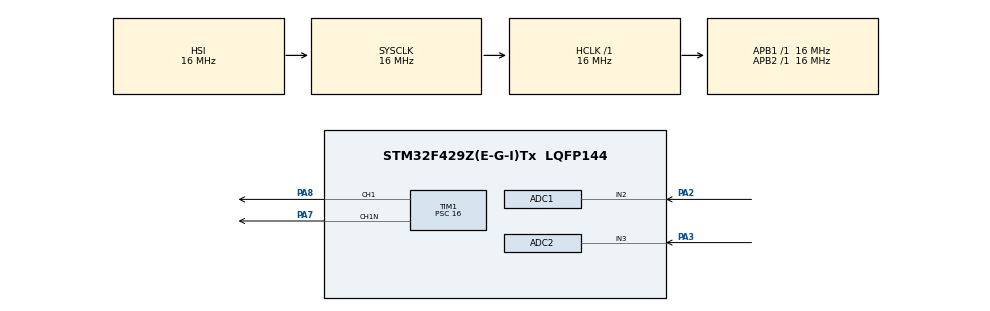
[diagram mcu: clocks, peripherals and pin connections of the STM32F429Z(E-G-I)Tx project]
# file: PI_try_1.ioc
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ADC1.Channel-0\#ChannelRegularConversion=ADC_CHANNEL_2
ADC1.NbrOfConversionFlag=1
ADC1.Rank-0\#ChannelRegularConversion=1
ADC1.Resolution=ADC_RESOLUTION_8B
ADC1.SamplingTime-0\#ChannelRegularConversion=ADC_SAMPLETIME_3CYCLES
ADC1.master=1
ADC2.Channel-0\#ChannelRegularConversion=ADC_CHANNEL_3
ADC2.ClockPrescaler=ADC_CLOCK_SYNC_PCLK_DIV2
ADC2.ContinuousConvMode=DISABLE
ADC2.DMAContinuousRequests=DISABLE
ADC2.DataAlign=ADC_DATAALIGN_RIGHT
ADC2.DiscontinuousConvMode=DISABLE
ADC2.EOCSelection=ADC_EOC_SINGLE_CONV
ADC2.EnableAnalogWatchDog=false
ADC2.ExternalTrigConvEdge=ADC_EXTERNALTRIGCONVEDGE_NONE
ADC2.InjNumberOfConversion=0
ADC2.NbrOfConversion=1
ADC2.NbrOfConversionFlag=1
ADC2.Rank-0\#ChannelRegularConversion=1
ADC2.Resolution=ADC_RESOLUTION_8B
ADC2.SamplingTime-0\#ChannelRegularConversion=ADC_SAMPLETIME_3CYCLES
ADC2.ScanConvMode=DISABLE
Mcu.Family=STM32F4
Mcu.Name=STM32F429Z(E-G-I)Tx
Mcu.Package=LQFP144
NVIC.PriorityGroup=NVIC_PRIORITYGROUP_4
NVIC.TIM2_IRQn=true\:0\:0\:false\:false\:true
PA13.Mode=Trace_Asynchronous_SW
PA13.Signal=SYS_JTMS-SWDIO
PA14.Mode=Trace_Asynchronous_SW
PA14.Signal=SYS_JTCK-SWCLK
PA2.Signal=ADCx_IN2
PA3.Signal=ADCx_IN3
PA7.Mode=PWM Generation1 CH1 CH1N
PA7.Signal=TIM1_CH1N
PA8.GPIO_PuPd=GPIO_NOPULL
PA8.Signal=S_TIM1_CH1
PB3.Mode=Trace_Asynchronous_SW
PB3.Signal=SYS_JTDO-SWO
ProjectManager.HeapSize=0x200
ProjectManager.StackSize=0x400
ProjectManager.TargetToolchain=MDK-ARM V5
RCC.AHBFreq_Value=16000000
RCC.APB1Freq_Value=16000000
RCC.APB2Freq_Value=16000000
RCC.CortexFreq_Value=16000000
RCC.HSE_VALUE=25000000
RCC.HSI_VALUE=16000000
RCC.LSE_VALUE=32768
RCC.SYSCLKFreq_VALUE=16000000
RCC.VCOOutputFreq_Value=192000000
SH.ADCx_IN2.0=ADC1_IN2,IN2
SH.ADCx_IN3.0=ADC2_IN3,IN3
SH.S_TIM1_CH1.0=TIM1_CH1,PWM Generation1 CH1 CH1N
TIM1.Period=100
TIM1.Prescaler=16
TIM1.Pulse-PWM\ Generation1\ CH1\ CH1N=50
TIM2.Period=100000
TIM2.Prescaler=16
VP_TIM1_VS_ClockSourceINT.Mode=Internal
VP_TIM2_VS_ClockSourceINT.Mode=Internal
board=PI_try_1

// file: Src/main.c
/**
  ******************************************************************************
  * File Name          : main.c
  * Description        : Main program body
  ******************************************************************************
  *
  * COPYRIGHT(c) 2017 STMicroelectronics
  *
  * Redistribution and use in source and binary forms, with or without modification,
  * are permitted provided that the following conditions are met:
  *   1. Redistributions of source code must retain the above copyright notice,
  *      this list of conditions and the following disclaimer.
  *   2. Redistributions in binary form must reproduce the above copyright notice,
  *      this list of conditions and the following disclaimer in the documentation
  *      and/or other materials provided with the distribution.
  *   3. Neither the name of STMicroelectronics nor the names of its contributors
  *      may be used to endorse or promote products derived from this software
  *      without specific prior written permission.
  *
  * THIS SOFTWARE IS PROVIDED BY THE COPYRIGHT HOLDERS AND CONTRIBUTORS "AS IS"
  * AND ANY EXPRESS OR IMPLIED WARRANTIES, INCLUDING, BUT NOT LIMITED TO, THE
  * IMPLIED WARRANTIES OF MERCHANTABILITY AND FITNESS FOR A PARTICULAR PURPOSE ARE
  * DISCLAIMED. IN NO EVENT SHALL THE COPYRIGHT HOLDER OR CONTRIBUTORS BE LIABLE
  * FOR ANY DIRECT, INDIRECT, INCIDENTAL, SPECIAL, EXEMPLARY, OR CONSEQUENTIAL
  * DAMAGES (INCLUDING, BUT NOT LIMITED TO, PROCUREMENT OF SUBSTITUTE GOODS OR
  * SERVICES; LOSS OF USE, DATA, OR PROFITS; OR BUSINESS INTERRUPTION) HOWEVER
  * CAUSED AND ON ANY THEORY OF LIABILITY, WHETHER IN CONTRACT, STRICT LIABILITY,
  * OR TORT (INCLUDING NEGLIGENCE OR OTHERWISE) ARISING IN ANY WAY OUT OF THE USE
  * OF THIS SOFTWARE, EVEN IF ADVISED OF THE POSSIBILITY OF SUCH DAMAGE.
  *
  ******************************************************************************
  */
#include "stm32f4xx_hal.h"
#include "math.h"

ADC_HandleTypeDef hadc1;
ADC_HandleTypeDef hadc2;

TIM_HandleTypeDef htim1;
TIM_HandleTypeDef htim2;

/* USER CODE BEGIN PV */
/* Private variables ---------------------------------------------------------*/
	 double integral = 0;
	 double prePWM = 50;

/* USER CODE END PV */

void SystemClock_Config(void);
void Error_Handler(void);
static void MX_GPIO_Init(void);
static void MX_ADC1_Init(void);
static void MX_ADC2_Init(void);
static void MX_TIM1_Init(void);
static void MX_TIM2_Init(void);

void HAL_TIM_MspPostInit(TIM_HandleTypeDef *htim);

/* USER CODE BEGIN PFP */
/* Private function prototypes -----------------------------------------------*/

/* USER CODE END PFP */

/* USER CODE BEGIN 0 */

void trace(char * string, uint8_t len){
	uint8_t i = 0;
	for(i=0; i<len;len++){
	ITM_SendChar(*string++);
	}
}

/* USER CODE END 0 */

int main(void)
{

  /* MCU Configuration----------------------------------------------------------*/

  /* Reset of all peripherals, Initializes the Flash interface and the Systick. */
  HAL_Init();

  /* Configure the system clock */
  SystemClock_Config();

  /* Initialize all configured peripherals */
  MX_GPIO_Init();
  MX_ADC1_Init();
  MX_ADC2_Init();
  MX_TIM1_Init();
  MX_TIM2_Init();

  /* USER CODE BEGIN 2 */
	HAL_TIM_PWM_Start(&htim1,TIM_CHANNEL_1);
 HAL_TIM_Base_Start_IT(&htim2);

  /* USER CODE END 2 */

  /* Infinite loop */
  while (1)
  {

  }

}

/** System Clock Configuration
*/
void SystemClock_Config(void)
{

  RCC_OscInitTypeDef RCC_OscInitStruct;
  RCC_ClkInitTypeDef RCC_ClkInitStruct;

  __HAL_RCC_PWR_CLK_ENABLE();

  __HAL_PWR_VOLTAGESCALING_CONFIG(PWR_REGULATOR_VOLTAGE_SCALE3);

  RCC_OscInitStruct.OscillatorType = RCC_OSCILLATORTYPE_HSI;
  RCC_OscInitStruct.HSIState = RCC_HSI_ON;
  RCC_OscInitStruct.HSICalibrationValue = 16;
  RCC_OscInitStruct.PLL.PLLState = RCC_PLL_NONE;
  if (HAL_RCC_OscConfig(&RCC_OscInitStruct) != HAL_OK)
  {
    Error_Handler();
  }

  RCC_ClkInitStruct.ClockType = RCC_CLOCKTYPE_HCLK|RCC_CLOCKTYPE_SYSCLK
                              |RCC_CLOCKTYPE_PCLK1|RCC_CLOCKTYPE_PCLK2;
  RCC_ClkInitStruct.SYSCLKSource = RCC_SYSCLKSOURCE_HSI;
  RCC_ClkInitStruct.AHBCLKDivider = RCC_SYSCLK_DIV1;
  RCC_ClkInitStruct.APB1CLKDivider = RCC_HCLK_DIV1;
  RCC_ClkInitStruct.APB2CLKDivider = RCC_HCLK_DIV1;
  if (HAL_RCC_ClockConfig(&RCC_ClkInitStruct, FLASH_LATENCY_0) != HAL_OK)
  {
    Error_Handler();
  }

  HAL_SYSTICK_Config(HAL_RCC_GetHCLKFreq()/1000);

  HAL_SYSTICK_CLKSourceConfig(SYSTICK_CLKSOURCE_HCLK);

  /* SysTick_IRQn interrupt configuration */
  HAL_NVIC_SetPriority(SysTick_IRQn, 0, 0);
}

/* ADC1 init function */
static void MX_ADC1_Init(void)
{

  ADC_ChannelConfTypeDef sConfig;

    /**Configure the global features of the ADC (Clock, Resolution, Data Alignment and number of conversion)
    */
  hadc1.Instance = ADC1;
  hadc1.Init.ClockPrescaler = ADC_CLOCK_SYNC_PCLK_DIV2;
  hadc1.Init.Resolution = ADC_RESOLUTION_8B;
  hadc1.Init.ScanConvMode = DISABLE;
  hadc1.Init.ContinuousConvMode = ENABLE;
  hadc1.Init.DiscontinuousConvMode = DISABLE;
  hadc1.Init.ExternalTrigConvEdge = ADC_EXTERNALTRIGCONVEDGE_NONE;
  hadc1.Init.DataAlign = ADC_DATAALIGN_RIGHT;
  hadc1.Init.NbrOfConversion = 1;
  hadc1.Init.DMAContinuousRequests = DISABLE;
  hadc1.Init.EOCSelection = ADC_EOC_SINGLE_CONV;
  if (HAL_ADC_Init(&hadc1) != HAL_OK)
  {
    Error_Handler();
  }

    /**Configure for the selected ADC regular channel its corresponding rank in the sequencer and its sample time.
    */
  sConfig.Channel = ADC_CHANNEL_2;
  sConfig.Rank = 1;
  sConfig.SamplingTime = ADC_SAMPLETIME_3CYCLES;
  if (HAL_ADC_ConfigChannel(&hadc1, &sConfig) != HAL_OK)
  {
    Error_Handler();
  }

}

/* ADC2 init function */
static void MX_ADC2_Init(void)
{

  ADC_ChannelConfTypeDef sConfig;

    /**Configure the global features of the ADC (Clock, Resolution, Data Alignment and number of conversion)
    */
  hadc2.Instance = ADC2;
  hadc2.Init.ClockPrescaler = ADC_CLOCK_SYNC_PCLK_DIV2;
  hadc2.Init.Resolution = ADC_RESOLUTION_8B;
  hadc2.Init.ScanConvMode = DISABLE;
  hadc2.Init.ContinuousConvMode = ENABLE;
  hadc2.Init.DiscontinuousConvMode = DISABLE;
  hadc2.Init.ExternalTrigConvEdge = ADC_EXTERNALTRIGCONVEDGE_NONE;
  hadc2.Init.DataAlign = ADC_DATAALIGN_RIGHT;
  hadc2.Init.NbrOfConversion = 1;
  hadc2.Init.DMAContinuousRequests = DISABLE;
  hadc2.Init.EOCSelection = ADC_EOC_SINGLE_CONV;
  if (HAL_ADC_Init(&hadc2) != HAL_OK)
  {
    Error_Handler();
  }

    /**Configure for the selected ADC regular channel its corresponding rank in the sequencer and its sample time.
    */
  sConfig.Channel = ADC_CHANNEL_3;
  sConfig.Rank = 1;
  sConfig.SamplingTime = ADC_SAMPLETIME_3CYCLES;
  if (HAL_ADC_ConfigChannel(&hadc2, &sConfig) != HAL_OK)
  {
    Error_Handler();
  }

}

/* TIM1 init function */
static void MX_TIM1_Init(void)
{

  TIM_ClockConfigTypeDef sClockSourceConfig;
  TIM_MasterConfigTypeDef sMasterConfig;
  TIM_BreakDeadTimeConfigTypeDef sBreakDeadTimeConfig;
  TIM_OC_InitTypeDef sConfigOC;

  htim1.Instance = TIM1;
  htim1.Init.Prescaler = 16;
  htim1.Init.CounterMode = TIM_COUNTERMODE_UP;
  htim1.Init.Period = 100;
  htim1.Init.ClockDivision = TIM_CLOCKDIVISION_DIV1;
  htim1.Init.RepetitionCounter = 0;
  if (HAL_TIM_Base_Init(&htim1) != HAL_OK)
  {
    Error_Handler();
  }

  sClockSourceConfig.ClockSource = TIM_CLOCKSOURCE_INTERNAL;
  if (HAL_TIM_ConfigClockSource(&htim1, &sClockSourceConfig) != HAL_OK)
  {
    Error_Handler();
  }

  if (HAL_TIM_PWM_Init(&htim1) != HAL_OK)
  {
    Error_Handler();
  }

  sMasterConfig.MasterOutputTrigger = TIM_TRGO_RESET;
  sMasterConfig.MasterSlaveMode = TIM_MASTERSLAVEMODE_DISABLE;
  if (HAL_TIMEx_MasterConfigSynchronization(&htim1, &sMasterConfig) != HAL_OK)
  {
    Error_Handler();
  }

  sBreakDeadTimeConfig.OffStateRunMode = TIM_OSSR_DISABLE;
  sBreakDeadTimeConfig.OffStateIDLEMode = TIM_OSSI_DISABLE;
  sBreakDeadTimeConfig.LockLevel = TIM_LOCKLEVEL_OFF;
  sBreakDeadTimeConfig.DeadTime = 0;
  sBreakDeadTimeConfig.BreakState = TIM_BREAK_DISABLE;
  sBreakDeadTimeConfig.BreakPolarity = TIM_BREAKPOLARITY_HIGH;
  sBreakDeadTimeConfig.AutomaticOutput = TIM_AUTOMATICOUTPUT_DISABLE;
  if (HAL_TIMEx_ConfigBreakDeadTime(&htim1, &sBreakDeadTimeConfig) != HAL_OK)
  {
    Error_Handler();
  }

  sConfigOC.OCMode = TIM_OCMODE_PWM1;
  sConfigOC.Pulse = 50;
  sConfigOC.OCPolarity = TIM_OCPOLARITY_HIGH;
  sConfigOC.OCNPolarity = TIM_OCNPOLARITY_HIGH;
  sConfigOC.OCFastMode = TIM_OCFAST_DISABLE;
  sConfigOC.OCIdleState = TIM_OCIDLESTATE_RESET;
  sConfigOC.OCNIdleState = TIM_OCNIDLESTATE_RESET;
  if (HAL_TIM_PWM_ConfigChannel(&htim1, &sConfigOC, TIM_CHANNEL_1) != HAL_OK)
  {
    Error_Handler();
  }

  HAL_TIM_MspPostInit(&htim1);

}

/* TIM2 init function */
static void MX_TIM2_Init(void)
{

  TIM_ClockConfigTypeDef sClockSourceConfig;
  TIM_MasterConfigTypeDef sMasterConfig;

  htim2.Instance = TIM2;
  htim2.Init.Prescaler = 16;
  htim2.Init.CounterMode = TIM_COUNTERMODE_UP;
  htim2.Init.Period = 100000;
  htim2.Init.ClockDivision = TIM_CLOCKDIVISION_DIV1;
  if (HAL_TIM_Base_Init(&htim2) != HAL_OK)
  {
    Error_Handler();
  }

  sClockSourceConfig.ClockSource = TIM_CLOCKSOURCE_INTERNAL;
  if (HAL_TIM_ConfigClockSource(&htim2, &sClockSourceConfig) != HAL_OK)
  {
    Error_Handler();
  }

  sMasterConfig.MasterOutputTrigger = TIM_TRGO_RESET;
  sMasterConfig.MasterSlaveMode = TIM_MASTERSLAVEMODE_DISABLE;
  if (HAL_TIMEx_MasterConfigSynchronization(&htim2, &sMasterConfig) != HAL_OK)
  {
    Error_Handler();
  }

}

/** Configure pins as
        * Analog
        * Input
        * Output
        * EVENT_OUT
        * EXTI
*/
static void MX_GPIO_Init(void)
{

  /* GPIO Ports Clock Enable */
  __HAL_RCC_GPIOA_CLK_ENABLE();
  __HAL_RCC_GPIOB_CLK_ENABLE();

}

/* USER CODE BEGIN 4 */

void HAL_TIM_PeriodElapsedCallback(TIM_HandleTypeDef *htim){
	double dt = 100000*(0.000001);
	double sum =0;
		int k = 0;
	HAL_ADC_Start(&hadc1);
	HAL_ADC_Start(&hadc2);
	int duty = 50;
double div = 256/2.8667;
	double V1 = 0;
	double V2 = 0;
	char temp1[50];
	char temp2[50];
	V1 = (double)HAL_ADC_GetValue(&hadc1); //ADC on PA2
	V2 = (double)HAL_ADC_GetValue(&hadc2); //ADC on PA3

	while(k <10000)
	{
	sum += (double)HAL_ADC_GetValue(&hadc2); //ADC on PA3
	k++;
	}
	V2 = sum/10000;
	V1 = (V1/div);
	V2 = (V2/div);
	double ERROR = V1-V2;
	integral = integral + (ERROR*dt);
	double kp = 160;
	double ki = 90;
	double out = kp*ERROR + ki*integral;
	if(out-prePWM > 2){out = prePWM + 2;}
	if(out-prePWM < 2){out = prePWM - 2;}
	sprintf(temp1,"OUT = %f \t PREOUT = %f \t ERROR = %f \t TACHO = %f \t SOURCE = %f \n",(out),(prePWM),(ERROR),(V2), V1);
		if (out > 100){out = 100;}
	if (out < 0){	out = 0;}
	TIM1->CCR1 = round(100-out);
	prePWM = out;

//sprintf(temp1,"V1 = %f \n V2 = %f \n ERROR = %f \n INTEGRAL = %f \n OUT = %f \n",(V1),(V2),(ERROR),(integral),(out));

trace(temp1,50);
//MX_TIM1_Init();
	//MX_ADC1_Init();

	//trace("Interrupt!\n",11);
}

/* USER CODE END 4 */

void Error_Handler(void)
{
  while(1)
  {
  }
}

/************************ (C) COPYRIGHT STMicroelectronics *****END OF FILE****/
